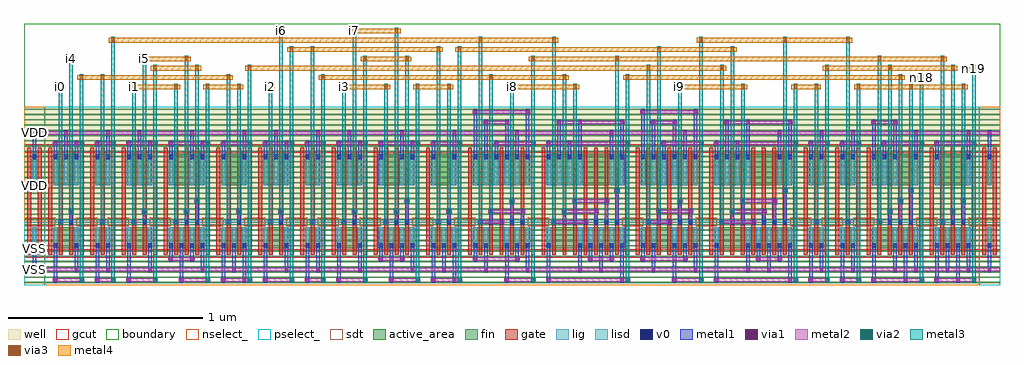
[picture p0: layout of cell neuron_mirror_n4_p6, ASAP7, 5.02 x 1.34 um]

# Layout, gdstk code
import gdstk
lib = gdstk.Library(unit=1e-6, precision=2.5e-10)
def R(c, l, rs):  # rectangles x0, y0, x1, y1
    for r in rs: c.add(gdstk.rectangle(r[:2], r[2:], *l))
def A(c, l, x, y, w, h, nx, ny, dx, dy):  # array of equal rectangles
    R(c, l, [(x+i*dx, y+j*dy, x+i*dx+w, y+j*dy+h) for i in range(nx) for j in range(ny)])
well = (1, 0)
fin = (2, 0)
gate = (7, 0)
gcut = (10, 0)
active_area = (11, 0)
nselect_ = (12, 0)
pselect_ = (13, 0)
lig = (16, 0)
lisd = (17, 0)
v0 = (18, 0)
metal1 = (19, 0)
metal2 = (20, 0)
via1 = (21, 0)
via2 = (25, 0)
metal3 = (30, 0)
via3 = (35, 0)
metal4 = (40, 0)
sdt = (88, 0)
boundary = (100, 0)

neuron_mirror_n4_p6 = lib.new_cell('neuron_mirror_n4_p6')
R(neuron_mirror_n4_p6, well, [(0,0.324,0.108,0.918), (0.108,0.324,0.324,0.918), (0.324,0.324,0.486,0.918), (0.486,0.324,0.702,0.918), (0.702,0.324,0.972,0.918), (0.972,0.324,1.188,0.918), (1.188,0.324,1.404,0.918), (1.404,0.324,1.566,0.918), (1.566,0.324,1.782,0.918), (1.782,0.324,2.052,0.918), (2.052,0.324,2.268,0.918), (2.268,0.324,2.646,0.918), (2.646,0.324,3.132,0.918), (3.132,0.324,3.51,0.918), (3.51,0.324,3.996,0.918), (3.996,0.324,4.158,0.918), (4.158,0.324,4.32,0.918), (4.32,0.324,4.644,0.918), (4.644,0.324,4.914,0.918), (4.914,0.324,5.022,0.918)])
A(neuron_mirror_n4_p6, fin, 0, 0.01, 0.108, 0.007, 1, 34, 0, 0.027)
A(neuron_mirror_n4_p6, fin, 0.108, 0.01, 0.216, 0.007, 1, 34, 0, 0.027)
A(neuron_mirror_n4_p6, fin, 0.324, 0.01, 0.162, 0.007, 1, 34, 0, 0.027)
A(neuron_mirror_n4_p6, fin, 0.486, 0.01, 0.216, 0.007, 1, 34, 0, 0.027)
A(neuron_mirror_n4_p6, fin, 0.702, 0.01, 0.27, 0.007, 1, 34, 0, 0.027)
A(neuron_mirror_n4_p6, fin, 0.972, 0.01, 0.216, 0.007, 1, 34, 0, 0.027)
A(neuron_mirror_n4_p6, fin, 1.188, 0.01, 0.216, 0.007, 1, 34, 0, 0.027)
A(neuron_mirror_n4_p6, fin, 1.404, 0.01, 0.162, 0.007, 1, 34, 0, 0.027)
A(neuron_mirror_n4_p6, fin, 1.566, 0.01, 0.216, 0.007, 1, 34, 0, 0.027)
A(neuron_mirror_n4_p6, fin, 1.782, 0.01, 0.27, 0.007, 1, 34, 0, 0.027)
A(neuron_mirror_n4_p6, fin, 2.052, 0.01, 0.216, 0.007, 1, 34, 0, 0.027)
A(neuron_mirror_n4_p6, fin, 2.268, 0.01, 0.378, 0.007, 1, 34, 0, 0.027)
A(neuron_mirror_n4_p6, fin, 2.646, 0.01, 0.486, 0.007, 1, 34, 0, 0.027)
A(neuron_mirror_n4_p6, fin, 3.132, 0.01, 0.378, 0.007, 1, 34, 0, 0.027)
A(neuron_mirror_n4_p6, fin, 3.51, 0.01, 0.486, 0.007, 1, 34, 0, 0.027)
A(neuron_mirror_n4_p6, fin, 3.996, 0.01, 0.162, 0.007, 1, 34, 0, 0.027)
A(neuron_mirror_n4_p6, fin, 4.158, 0.01, 0.162, 0.007, 1, 34, 0, 0.027)
A(neuron_mirror_n4_p6, fin, 4.32, 0.01, 0.324, 0.007, 1, 34, 0, 0.027)
A(neuron_mirror_n4_p6, fin, 4.644, 0.01, 0.27, 0.007, 1, 34, 0, 0.027)
A(neuron_mirror_n4_p6, fin, 4.914, 0.01, 0.108, 0.007, 1, 34, 0, 0.027)
A(neuron_mirror_n4_p6, gate, 0.017, 0.157, 0.02, 0.55, 93, 1, 0.054, 0)
R(neuron_mirror_n4_p6, gcut, [(0,0.14,0.108,0.184), (0.108,0.14,0.324,0.184), (0.324,0.14,0.486,0.184), (0.486,0.14,0.702,0.184), (0.702,0.14,0.972,0.184), (0.972,0.14,1.188,0.184), (1.188,0.14,1.404,0.184), (1.404,0.14,1.566,0.184), (1.566,0.14,1.782,0.184), (1.782,0.14,2.052,0.184), (2.052,0.14,2.268,0.184), (2.268,0.14,2.646,0.184), (2.646,0.14,3.132,0.184), (3.132,0.14,3.51,0.184), (3.51,0.14,3.996,0.184), (3.996,0.14,4.158,0.184), (4.158,0.14,4.32,0.184), (4.32,0.14,4.644,0.184), (4.644,0.14,4.914,0.184), (4.914,0.14,5.022,0.184), (0,0.302,0.108,0.346), (0.108,0.302,0.162,0.346), (0.27,0.302,0.324,0.346), (0.324,0.302,0.378,0.346), (0.432,0.302,0.486,0.346), (0.486,0.302,0.54,0.346), (0.648,0.302,0.702,0.346), (0.702,0.302,0.756,0.346), (0.918,0.302,0.972,0.346), (0.972,0.302,1.026,0.346), (1.134,0.302,1.188,0.346), (1.188,0.302,1.242,0.346), (1.35,0.302,1.404,0.346), (1.404,0.302,1.458,0.346), (1.512,0.302,1.566,0.346), (1.566,0.302,1.62,0.346), (1.728,0.302,1.782,0.346), (1.782,0.302,1.836,0.346), (1.998,0.302,2.052,0.346), (2.052,0.302,2.106,0.346), (2.214,0.302,2.268,0.346), (2.268,0.302,2.322,0.346), (2.592,0.302,2.646,0.346), (2.646,0.302,2.7,0.346), (3.078,0.302,3.132,0.346), (3.132,0.302,3.186,0.346), (3.456,0.302,3.51,0.346), (3.51,0.302,3.564,0.346), (3.942,0.302,3.996,0.346), (3.996,0.302,4.05,0.346), (4.104,0.302,4.158,0.346), (4.158,0.302,4.212,0.346), (4.266,0.302,4.32,0.346), (4.32,0.302,4.374,0.346), (4.59,0.302,4.644,0.346), (4.644,0.302,4.698,0.346), (4.86,0.302,4.914,0.346), (4.914,0.302,5.022,0.346), (0,0.68,0.108,0.724), (0.108,0.68,0.324,0.724), (0.324,0.68,0.486,0.724), (0.486,0.68,0.702,0.724), (0.702,0.68,0.972,0.724), (0.972,0.68,1.188,0.724), (1.188,0.68,1.404,0.724), (1.404,0.68,1.566,0.724), (1.566,0.68,1.782,0.724), (1.782,0.68,2.052,0.724), (2.052,0.68,2.268,0.724), (2.268,0.68,2.646,0.724), (2.646,0.68,3.132,0.724), (3.132,0.68,3.51,0.724), (3.51,0.68,3.996,0.724), (3.996,0.68,4.158,0.724), (4.158,0.68,4.32,0.724), (4.32,0.68,4.644,0.724), (4.644,0.68,4.914,0.724), (4.914,0.68,5.022,0.724)])
R(neuron_mirror_n4_p6, active_area, [(0.046,0.189,0.062,0.297), (0.154,0.189,0.278,0.297), (0.37,0.189,0.44,0.297), (0.532,0.189,0.656,0.297), (0.748,0.189,0.926,0.297), (1.018,0.189,1.142,0.297), (1.234,0.189,1.358,0.297), (1.45,0.189,1.52,0.297), (1.612,0.189,1.736,0.297), (1.828,0.189,2.006,0.297), (2.098,0.189,2.222,0.297), (2.314,0.189,2.6,0.297), (2.692,0.189,3.086,0.297), (3.178,0.189,3.464,0.297), (3.556,0.189,3.95,0.297), (4.042,0.189,4.112,0.297), (4.204,0.189,4.274,0.297), (4.366,0.189,4.598,0.297), (4.69,0.189,4.868,0.297), (4.96,0.189,4.976,0.297), (0.046,0.513,0.062,0.675), (0.154,0.513,0.278,0.675), (0.37,0.513,0.44,0.675), (0.532,0.513,0.656,0.675), (0.748,0.513,0.926,0.675), (1.018,0.513,1.142,0.675), (1.234,0.513,1.358,0.675), (1.45,0.513,1.52,0.675), (1.612,0.513,1.736,0.675), (1.828,0.513,2.006,0.675), (2.098,0.513,2.222,0.675), (2.314,0.513,2.6,0.675), (2.692,0.513,3.086,0.675), (3.178,0.513,3.464,0.675), (3.556,0.513,3.95,0.675), (4.042,0.513,4.112,0.675), (4.204,0.513,4.274,0.675), (4.366,0.513,4.598,0.675), (4.69,0.513,4.868,0.675), (4.96,0.513,4.976,0.675)])
R(neuron_mirror_n4_p6, nselect_, [(0.108,0,0.324,0.324), (0.324,0,0.486,0.324), (0.486,0,0.702,0.324), (0.702,0,0.972,0.324), (0.972,0,1.188,0.324), (1.188,0,1.404,0.324), (1.404,0,1.566,0.324), (1.566,0,1.782,0.324), (1.782,0,2.052,0.324), (2.052,0,2.268,0.324), (2.268,0,2.646,0.324), (2.646,0,3.132,0.324), (3.132,0,3.51,0.324), (3.51,0,3.996,0.324), (3.996,0,4.158,0.324), (4.158,0,4.32,0.324), (4.32,0,4.644,0.324), (4.644,0,4.914,0.324), (0,0.324,0.108,0.918), (4.914,0.324,5.022,0.918)])
R(neuron_mirror_n4_p6, pselect_, [(0,0,0.108,0.324), (4.914,0,5.022,0.324), (0.108,0.324,0.324,0.918), (0.324,0.324,0.486,0.918), (0.486,0.324,0.702,0.918), (0.702,0.324,0.972,0.918), (0.972,0.324,1.188,0.918), (1.188,0.324,1.404,0.918), (1.404,0.324,1.566,0.918), (1.566,0.324,1.782,0.918), (1.782,0.324,2.052,0.918), (2.052,0.324,2.268,0.918), (2.268,0.324,2.646,0.918), (2.646,0.324,3.132,0.918), (3.132,0.324,3.51,0.918), (3.51,0.324,3.996,0.918), (3.996,0.324,4.158,0.918), (4.158,0.324,4.32,0.918), (4.32,0.324,4.644,0.918), (4.644,0.324,4.914,0.918)])
A(neuron_mirror_n4_p6, lig, 0.232, 0.313, 0.022, 0.022, 3, 1, 0.162, 0)
A(neuron_mirror_n4_p6, lig, 0.772, 0.313, 0.022, 0.022, 3, 1, 0.054, 0)
A(neuron_mirror_n4_p6, lig, 1.312, 0.313, 0.022, 0.022, 3, 1, 0.162, 0)
A(neuron_mirror_n4_p6, lig, 1.852, 0.313, 0.022, 0.022, 3, 1, 0.054, 0)
A(neuron_mirror_n4_p6, lig, 2.338, 0.313, 0.022, 0.022, 5, 1, 0.054, 0)
A(neuron_mirror_n4_p6, lig, 2.716, 0.313, 0.022, 0.022, 7, 1, 0.054, 0)
A(neuron_mirror_n4_p6, lig, 3.202, 0.313, 0.022, 0.022, 5, 1, 0.054, 0)
A(neuron_mirror_n4_p6, lig, 3.58, 0.313, 0.022, 0.022, 7, 1, 0.054, 0)
A(neuron_mirror_n4_p6, lig, 4.066, 0.313, 0.022, 0.022, 3, 1, 0.162, 0)
A(neuron_mirror_n4_p6, lig, 4.444, 0.313, 0.022, 0.022, 3, 1, 0.054, 0)
A(neuron_mirror_n4_p6, lig, 4.714, 0.313, 0.022, 0.022, 3, 1, 0.054, 0)
R(neuron_mirror_n4_p6, lig, [(0.178,0.313,0.2,0.335), (0.61,0.313,0.632,0.335), (1.042,0.313,1.064,0.335), (1.096,0.313,1.118,0.335), (1.258,0.313,1.28,0.335), (1.69,0.313,1.712,0.335), (2.122,0.313,2.144,0.335), (2.176,0.313,2.198,0.335)])
A(neuron_mirror_n4_p6, lisd, 0.042, 0.189, 0.024, 0.108, 4, 1, 0.108, 0)
A(neuron_mirror_n4_p6, lisd, 0.42, 0.189, 0.024, 0.108, 4, 1, 0.108, 0)
A(neuron_mirror_n4_p6, lisd, 0.798, 0.189, 0.024, 0.108, 3, 1, 0.054, 0)
A(neuron_mirror_n4_p6, lisd, 1.014, 0.189, 0.024, 0.108, 3, 1, 0.054, 0)
A(neuron_mirror_n4_p6, lisd, 1.23, 0.189, 0.024, 0.108, 3, 1, 0.108, 0)
A(neuron_mirror_n4_p6, lisd, 1.5, 0.189, 0.024, 0.108, 4, 1, 0.108, 0)
A(neuron_mirror_n4_p6, lisd, 1.878, 0.189, 0.024, 0.108, 3, 1, 0.054, 0)
A(neuron_mirror_n4_p6, lisd, 2.094, 0.189, 0.024, 0.108, 3, 1, 0.054, 0)
A(neuron_mirror_n4_p6, lisd, 2.472, 0.189, 0.024, 0.108, 3, 1, 0.054, 0)
A(neuron_mirror_n4_p6, lisd, 2.85, 0.189, 0.024, 0.108, 5, 1, 0.054, 0)
A(neuron_mirror_n4_p6, lisd, 3.336, 0.189, 0.024, 0.108, 3, 1, 0.054, 0)
A(neuron_mirror_n4_p6, lisd, 3.714, 0.189, 0.024, 0.108, 5, 1, 0.054, 0)
A(neuron_mirror_n4_p6, lisd, 4.254, 0.189, 0.024, 0.108, 3, 1, 0.108, 0)
A(neuron_mirror_n4_p6, lisd, 4.686, 0.189, 0.024, 0.108, 4, 1, 0.054, 0)
A(neuron_mirror_n4_p6, lisd, 0.15, 0.513, 0.024, 0.162, 3, 1, 0.054, 0)
A(neuron_mirror_n4_p6, lisd, 0.528, 0.513, 0.024, 0.162, 3, 1, 0.054, 0)
A(neuron_mirror_n4_p6, lisd, 0.906, 0.513, 0.024, 0.162, 4, 1, 0.108, 0)
A(neuron_mirror_n4_p6, lisd, 1.608, 0.513, 0.024, 0.162, 3, 1, 0.054, 0)
A(neuron_mirror_n4_p6, lisd, 1.986, 0.513, 0.024, 0.162, 4, 1, 0.108, 0)
A(neuron_mirror_n4_p6, lisd, 2.364, 0.513, 0.024, 0.162, 5, 1, 0.054, 0)
A(neuron_mirror_n4_p6, lisd, 2.688, 0.513, 0.024, 0.162, 4, 1, 0.054, 0)
A(neuron_mirror_n4_p6, lisd, 3.174, 0.513, 0.024, 0.162, 6, 1, 0.054, 0)
A(neuron_mirror_n4_p6, lisd, 3.552, 0.513, 0.024, 0.162, 4, 1, 0.054, 0)
A(neuron_mirror_n4_p6, lisd, 4.362, 0.513, 0.024, 0.162, 3, 1, 0.054, 0)
R(neuron_mirror_n4_p6, lisd, [(2.31,0.189,2.334,0.297), (2.364,0.189,2.388,0.297), (2.688,0.189,2.712,0.297), (3.174,0.189,3.198,0.297), (3.228,0.189,3.252,0.297), (3.552,0.189,3.576,0.297), (4.038,0.189,4.062,0.297), (4.092,0.189,4.116,0.297), (4.2,0.189,4.224,0.297), (4.524,0.189,4.548,0.297), (4.578,0.189,4.602,0.297), (4.956,0.189,4.98,0.297), (0.042,0.513,0.066,0.675), (0.366,0.513,0.39,0.675), (0.42,0.513,0.444,0.675), (0.744,0.513,0.768,0.675), (0.852,0.513,0.876,0.675), (1.284,0.513,1.308,0.675), (1.338,0.513,1.362,0.675), (1.446,0.513,1.47,0.675), (1.5,0.513,1.524,0.675), (1.824,0.513,1.848,0.675), (1.932,0.513,1.956,0.675), (3.012,0.513,3.036,0.675), (3.066,0.513,3.09,0.675), (3.876,0.513,3.9,0.675), (3.93,0.513,3.954,0.675), (4.038,0.513,4.062,0.675), (4.092,0.513,4.116,0.675), (4.2,0.513,4.224,0.675), (4.254,0.513,4.278,0.675), (4.578,0.513,4.602,0.675), (4.686,0.513,4.71,0.675), (4.848,0.513,4.872,0.675), (4.956,0.513,4.98,0.675)])
A(neuron_mirror_n4_p6, v0, 0.045, 0.1935, 0.018, 0.018, 4, 1, 0.108, 0)
A(neuron_mirror_n4_p6, v0, 0.423, 0.1935, 0.018, 0.018, 4, 1, 0.108, 0)
A(neuron_mirror_n4_p6, v0, 0.801, 0.1935, 0.018, 0.018, 3, 1, 0.054, 0)
A(neuron_mirror_n4_p6, v0, 1.017, 0.1935, 0.018, 0.018, 3, 1, 0.054, 0)
A(neuron_mirror_n4_p6, v0, 1.233, 0.1935, 0.018, 0.018, 3, 1, 0.108, 0)
A(neuron_mirror_n4_p6, v0, 1.503, 0.1935, 0.018, 0.018, 4, 1, 0.108, 0)
A(neuron_mirror_n4_p6, v0, 1.881, 0.1935, 0.018, 0.018, 3, 1, 0.054, 0)
A(neuron_mirror_n4_p6, v0, 2.097, 0.1935, 0.018, 0.018, 3, 1, 0.054, 0)
A(neuron_mirror_n4_p6, v0, 2.475, 0.1935, 0.018, 0.018, 3, 1, 0.054, 0)
A(neuron_mirror_n4_p6, v0, 2.853, 0.1935, 0.018, 0.018, 5, 1, 0.054, 0)
A(neuron_mirror_n4_p6, v0, 3.339, 0.1935, 0.018, 0.018, 3, 1, 0.054, 0)
A(neuron_mirror_n4_p6, v0, 3.717, 0.1935, 0.018, 0.018, 5, 1, 0.054, 0)
A(neuron_mirror_n4_p6, v0, 4.257, 0.1935, 0.018, 0.018, 3, 1, 0.108, 0)
A(neuron_mirror_n4_p6, v0, 4.689, 0.1935, 0.018, 0.018, 4, 1, 0.054, 0)
A(neuron_mirror_n4_p6, v0, 0.234, 0.315, 0.018, 0.018, 3, 1, 0.162, 0)
A(neuron_mirror_n4_p6, v0, 0.774, 0.315, 0.018, 0.018, 3, 1, 0.054, 0)
A(neuron_mirror_n4_p6, v0, 1.314, 0.315, 0.018, 0.018, 3, 1, 0.162, 0)
A(neuron_mirror_n4_p6, v0, 1.854, 0.315, 0.018, 0.018, 3, 1, 0.054, 0)
A(neuron_mirror_n4_p6, v0, 2.34, 0.315, 0.018, 0.018, 5, 1, 0.054, 0)
A(neuron_mirror_n4_p6, v0, 2.718, 0.315, 0.018, 0.018, 7, 1, 0.054, 0)
A(neuron_mirror_n4_p6, v0, 3.204, 0.315, 0.018, 0.018, 5, 1, 0.054, 0)
A(neuron_mirror_n4_p6, v0, 3.582, 0.315, 0.018, 0.018, 7, 1, 0.054, 0)
A(neuron_mirror_n4_p6, v0, 4.068, 0.315, 0.018, 0.018, 3, 1, 0.162, 0)
A(neuron_mirror_n4_p6, v0, 4.446, 0.315, 0.018, 0.018, 3, 1, 0.054, 0)
A(neuron_mirror_n4_p6, v0, 4.716, 0.315, 0.018, 0.018, 3, 1, 0.054, 0)
A(neuron_mirror_n4_p6, v0, 0.153, 0.6525, 0.018, 0.018, 3, 1, 0.054, 0)
A(neuron_mirror_n4_p6, v0, 0.531, 0.6525, 0.018, 0.018, 3, 1, 0.054, 0)
A(neuron_mirror_n4_p6, v0, 0.909, 0.6525, 0.018, 0.018, 4, 1, 0.108, 0)
A(neuron_mirror_n4_p6, v0, 1.611, 0.6525, 0.018, 0.018, 3, 1, 0.054, 0)
A(neuron_mirror_n4_p6, v0, 1.989, 0.6525, 0.018, 0.018, 4, 1, 0.108, 0)
A(neuron_mirror_n4_p6, v0, 2.367, 0.6525, 0.018, 0.018, 5, 1, 0.054, 0)
A(neuron_mirror_n4_p6, v0, 2.691, 0.6525, 0.018, 0.018, 4, 1, 0.054, 0)
A(neuron_mirror_n4_p6, v0, 3.177, 0.6525, 0.018, 0.018, 6, 1, 0.054, 0)
A(neuron_mirror_n4_p6, v0, 3.555, 0.6525, 0.018, 0.018, 4, 1, 0.054, 0)
A(neuron_mirror_n4_p6, v0, 4.365, 0.6525, 0.018, 0.018, 3, 1, 0.054, 0)
R(neuron_mirror_n4_p6, v0, [(2.313,0.1935,2.331,0.2115), (2.367,0.1935,2.385,0.2115), (2.691,0.1935,2.709,0.2115), (3.177,0.1935,3.195,0.2115), (3.231,0.1935,3.249,0.2115), (3.555,0.1935,3.573,0.2115), (4.041,0.1935,4.059,0.2115), (4.095,0.1935,4.113,0.2115), (4.203,0.1935,4.221,0.2115), (4.527,0.1935,4.545,0.2115), (4.581,0.1935,4.599,0.2115), (4.959,0.1935,4.977,0.2115), (0.18,0.315,0.198,0.333), (0.612,0.315,0.63,0.333), (1.044,0.315,1.062,0.333), (1.098,0.315,1.116,0.333), (1.26,0.315,1.278,0.333), (1.692,0.315,1.71,0.333), (2.124,0.315,2.142,0.333), (2.178,0.315,2.196,0.333), (0.045,0.6525,0.063,0.6705), (0.369,0.6525,0.387,0.6705), (0.423,0.6525,0.441,0.6705), (0.747,0.6525,0.765,0.6705), (0.855,0.6525,0.873,0.6705), (1.287,0.6525,1.305,0.6705), (1.341,0.6525,1.359,0.6705), (1.449,0.6525,1.467,0.6705), (1.503,0.6525,1.521,0.6705), (1.827,0.6525,1.845,0.6705), (1.935,0.6525,1.953,0.6705), (3.015,0.6525,3.033,0.6705), (3.069,0.6525,3.087,0.6705), (3.879,0.6525,3.897,0.6705), (3.933,0.6525,3.951,0.6705), (4.041,0.6525,4.059,0.6705), (4.095,0.6525,4.113,0.6705), (4.203,0.6525,4.221,0.6705), (4.257,0.6525,4.275,0.6705), (4.581,0.6525,4.599,0.6705), (4.689,0.6525,4.707,0.6705), (4.851,0.6525,4.869,0.6705), (4.959,0.6525,4.977,0.6705)])
A(neuron_mirror_n4_p6, metal1, 1.017, 0.013, 0.018, 0.2035, 3, 1, 0.108, 0)
A(neuron_mirror_n4_p6, metal1, 4.041, 0.013, 0.018, 0.2035, 5, 1, 0.162, 0)
A(neuron_mirror_n4_p6, metal1, 2.151, 0.067, 0.018, 0.1495, 3, 1, 0.216, 0)
A(neuron_mirror_n4_p6, metal1, 4.743, 0.067, 0.018, 0.1495, 3, 1, 0.108, 0)
A(neuron_mirror_n4_p6, metal1, 1.044, 0.31, 0.018, 0.028, 3, 1, 0.216, 0)
A(neuron_mirror_n4_p6, metal1, 4.068, 0.31, 0.018, 0.028, 3, 1, 0.162, 0)
A(neuron_mirror_n4_p6, metal1, 0.153, 0.6475, 0.018, 0.0955, 3, 1, 0.108, 0)
A(neuron_mirror_n4_p6, metal1, 0.531, 0.6475, 0.018, 0.0955, 3, 1, 0.108, 0)
A(neuron_mirror_n4_p6, metal1, 0.585, 0.6475, 0.018, 0.1495, 3, 1, 0.27, 0)
A(neuron_mirror_n4_p6, metal1, 1.233, 0.6475, 0.018, 0.0955, 3, 1, 0.108, 0)
A(neuron_mirror_n4_p6, metal1, 1.611, 0.6475, 0.018, 0.0955, 3, 1, 0.108, 0)
A(neuron_mirror_n4_p6, metal1, 1.665, 0.6475, 0.018, 0.1495, 3, 1, 0.27, 0)
R(neuron_mirror_n4_p6, metal1, [(0.153,0.013,0.171,0.2165), (0.369,0.013,0.387,0.2165), (0.531,0.013,0.549,0.2165), (0.801,0.013,0.819,0.2165), (1.449,0.013,1.467,0.2165), (1.611,0.013,1.629,0.2165), (1.881,0.013,1.899,0.2165), (2.097,0.013,2.115,0.2165), (2.205,0.013,2.223,0.2165), (2.475,0.013,2.493,0.2165), (2.691,0.013,2.709,0.2165), (3.069,0.013,3.087,0.2165), (3.339,0.013,3.357,0.2165), (3.555,0.013,3.573,0.2165), (3.933,0.013,3.951,0.2165), (4.797,0.013,4.815,0.2165), (0.045,0.067,0.063,0.2165), (0.261,0.067,0.279,0.2165), (0.423,0.067,0.441,0.2165), (0.639,0.067,0.657,0.2165), (0.909,0.067,0.927,0.2165), (1.071,0.067,1.089,0.2165), (1.341,0.067,1.359,0.2165), (1.503,0.067,1.521,0.2165), (1.719,0.067,1.737,0.2165), (1.989,0.067,2.007,0.2165), (2.853,0.067,2.871,0.2165), (2.961,0.067,2.979,0.2165), (3.231,0.067,3.249,0.2165), (3.447,0.067,3.465,0.2165), (3.717,0.067,3.735,0.2165), (3.825,0.067,3.843,0.2165), (4.095,0.067,4.113,0.2165), (4.257,0.067,4.275,0.2165), (4.473,0.067,4.491,0.2165), (4.581,0.067,4.599,0.2165), (0.747,0.121,0.765,0.2165), (0.855,0.121,0.873,0.2165), (1.827,0.121,1.845,0.2165), (1.935,0.121,1.953,0.2165), (2.313,0.121,2.331,0.2165), (2.529,0.121,2.547,0.2165), (2.907,0.121,2.925,0.2165), (3.015,0.121,3.033,0.2165), (3.177,0.121,3.195,0.2165), (3.393,0.121,3.411,0.2165), (3.771,0.121,3.789,0.2165), (3.879,0.121,3.897,0.2165), (0.18,0.31,0.198,0.338), (0.234,0.31,0.252,0.392), (0.396,0.31,0.414,0.338), (0.558,0.31,0.576,0.338), (0.612,0.31,0.63,0.392), (0.774,0.31,0.792,0.338), (0.828,0.31,0.846,0.392), (0.882,0.31,0.9,0.446), (1.098,0.31,1.116,0.392), (1.314,0.31,1.332,0.392), (1.638,0.31,1.656,0.338), (1.692,0.31,1.71,0.392), (1.854,0.31,1.872,0.338), (1.908,0.31,1.926,0.392), (1.962,0.31,1.98,0.446), (2.124,0.31,2.142,0.338), (2.178,0.31,2.196,0.392), (2.34,0.31,2.358,0.338), (2.394,0.31,2.412,0.392), (2.448,0.31,2.466,0.338), (2.502,0.31,2.52,0.446), (2.556,0.31,2.574,0.392), (2.718,0.31,2.736,0.338), (2.772,0.31,2.79,0.392), (2.826,0.31,2.844,0.446), (2.88,0.31,2.898,0.338), (2.934,0.31,2.952,0.392), (2.988,0.31,3.006,0.446), (3.042,0.31,3.06,0.5), (3.204,0.31,3.222,0.338), (3.258,0.31,3.276,0.392), (3.312,0.31,3.33,0.338), (3.366,0.31,3.384,0.446), (3.42,0.31,3.438,0.392), (3.582,0.31,3.6,0.338), (3.636,0.31,3.654,0.392), (3.69,0.31,3.708,0.446), (3.744,0.31,3.762,0.338), (3.798,0.31,3.816,0.392), (3.852,0.31,3.87,0.446), (3.906,0.31,3.924,0.5), (4.446,0.31,4.464,0.392), (4.5,0.31,4.518,0.446), (4.554,0.31,4.572,0.5), (4.716,0.31,4.734,0.338), (4.77,0.31,4.788,0.392), (4.824,0.31,4.842,0.446), (0.045,0.6475,0.063,0.797), (0.207,0.6475,0.225,0.797), (0.423,0.6475,0.441,0.797), (0.909,0.6475,0.927,0.743), (1.017,0.6475,1.035,0.743), (1.287,0.6475,1.305,0.797), (1.503,0.6475,1.521,0.797), (1.989,0.6475,2.007,0.743), (2.097,0.6475,2.115,0.743), (2.313,0.6475,2.331,0.905), (2.367,0.6475,2.385,0.851), (2.421,0.6475,2.439,0.743), (2.475,0.6475,2.493,0.851), (2.529,0.6475,2.547,0.797), (2.583,0.6475,2.601,0.905), (2.691,0.6475,2.709,0.743), (2.745,0.6475,2.763,0.851), (2.799,0.6475,2.817,0.743), (2.853,0.6475,2.871,0.851), (3.015,0.6475,3.033,0.797), (3.069,0.6475,3.087,0.851), (3.177,0.6475,3.195,0.905), (3.231,0.6475,3.249,0.851), (3.285,0.6475,3.303,0.743), (3.339,0.6475,3.357,0.851), (3.393,0.6475,3.411,0.797), (3.447,0.6475,3.465,0.905), (3.555,0.6475,3.573,0.743), (3.609,0.6475,3.627,0.851), (3.663,0.6475,3.681,0.743), (3.717,0.6475,3.735,0.851), (3.879,0.6475,3.897,0.797), (3.933,0.6475,3.951,0.851), (4.041,0.6475,4.059,0.743), (4.095,0.6475,4.113,0.797), (4.203,0.6475,4.221,0.743), (4.257,0.6475,4.275,0.797), (4.365,0.6475,4.383,0.851), (4.419,0.6475,4.437,0.743), (4.473,0.6475,4.491,0.851), (4.581,0.6475,4.599,0.797), (4.689,0.6475,4.707,0.743), (4.851,0.6475,4.869,0.797), (4.959,0.6475,4.977,0.797)])
A(neuron_mirror_n4_p6, metal2, 0.796, 0.018, 0.163, 0.018, 3, 1, 0.216, 0)
A(neuron_mirror_n4_p6, metal2, 0.742, 0.126, 0.136, 0.018, 3, 1, 1.08, 0)
A(neuron_mirror_n4_p6, metal2, 1.039, 0.315, 0.028, 0.018, 3, 1, 0.216, 0)
A(neuron_mirror_n4_p6, metal2, 4.063, 0.315, 0.028, 0.018, 3, 1, 0.162, 0)
A(neuron_mirror_n4_p6, metal2, 0.58, 0.774, 0.028, 0.018, 3, 1, 0.27, 0)
A(neuron_mirror_n4_p6, metal2, 1.66, 0.774, 0.028, 0.018, 3, 1, 0.27, 0)
R(neuron_mirror_n4_p6, metal2, [(0.148,0.018,0.311,0.036), (0.364,0.018,0.473,0.036), (0.526,0.018,0.689,0.036), (1.444,0.018,1.553,0.036), (1.606,0.018,1.769,0.036), (1.876,0.018,2.039,0.036), (2.092,0.018,2.255,0.036), (2.47,0.018,2.633,0.036), (2.686,0.018,3.119,0.036), (3.334,0.018,3.497,0.036), (3.55,0.018,3.983,0.036), (4.036,0.018,4.145,0.036), (4.198,0.018,4.307,0.036), (4.36,0.018,4.631,0.036), (4.684,0.018,4.901,0.036), (0,0.072,5.022,0.09), (0.04,0.072,0.068,0.09), (0.256,0.072,0.284,0.09), (0.418,0.072,0.446,0.09), (0.634,0.072,0.662,0.09), (0.904,0.072,0.932,0.09), (1.066,0.072,1.094,0.09), (1.336,0.072,1.364,0.09), (1.498,0.072,1.526,0.09), (1.714,0.072,1.742,0.09), (1.984,0.072,2.012,0.09), (2.146,0.072,2.174,0.09), (2.362,0.072,2.606,0.09), (2.848,0.072,2.984,0.09), (3.226,0.072,3.47,0.09), (3.712,0.072,3.848,0.09), (4.09,0.072,4.118,0.09), (4.252,0.072,4.28,0.09), (4.468,0.072,4.604,0.09), (4.738,0.072,4.874,0.09), (4.954,0.072,4.982,0.09), (2.308,0.126,2.552,0.144), (3.172,0.126,3.416,0.144), (3.766,0.126,3.902,0.144), (0.175,0.315,0.203,0.333), (0.391,0.315,0.419,0.333), (0.553,0.315,0.581,0.333), (0.769,0.315,0.797,0.333), (1.633,0.315,1.661,0.333), (1.849,0.315,1.877,0.333), (2.119,0.315,2.147,0.333), (2.335,0.315,2.471,0.333), (2.713,0.315,2.903,0.333), (3.199,0.315,3.335,0.333), (3.577,0.315,3.767,0.333), (4.711,0.315,4.739,0.333), (0.229,0.369,0.257,0.387), (0.607,0.369,0.635,0.387), (0.823,0.369,0.851,0.387), (1.093,0.369,1.121,0.387), (1.309,0.369,1.337,0.387), (1.687,0.369,1.715,0.387), (1.903,0.369,1.931,0.387), (2.173,0.369,2.201,0.387), (2.389,0.369,2.579,0.387), (2.767,0.369,2.957,0.387), (3.253,0.369,3.443,0.387), (3.631,0.369,3.821,0.387), (4.441,0.369,4.469,0.387), (4.765,0.369,4.793,0.387), (0.877,0.423,0.905,0.441), (1.957,0.423,1.985,0.441), (2.497,0.423,2.525,0.441), (2.821,0.423,3.011,0.441), (3.361,0.423,3.389,0.441), (3.685,0.423,3.875,0.441), (4.495,0.423,4.523,0.441), (4.819,0.423,4.847,0.441), (3.037,0.477,3.065,0.495), (3.901,0.477,3.929,0.495), (4.549,0.477,4.577,0.495), (0.148,0.72,0.311,0.738), (0.364,0.72,0.473,0.738), (0.526,0.72,0.689,0.738), (0.742,0.72,0.959,0.738), (1.012,0.72,1.175,0.738), (1.228,0.72,1.391,0.738), (1.444,0.72,1.553,0.738), (1.606,0.72,1.769,0.738), (1.822,0.72,2.039,0.738), (2.092,0.72,2.255,0.738), (2.416,0.72,2.633,0.738), (2.686,0.72,3.119,0.738), (3.28,0.72,3.497,0.738), (3.55,0.72,3.983,0.738), (4.036,0.72,4.145,0.738), (4.198,0.72,4.307,0.738), (4.414,0.72,4.631,0.738), (4.684,0.72,4.901,0.738), (0,0.774,5.022,0.792), (0.04,0.774,0.068,0.792), (0.202,0.774,0.23,0.792), (0.418,0.774,0.446,0.792), (1.282,0.774,1.31,0.792), (1.498,0.774,1.526,0.792), (2.524,0.774,2.552,0.792), (3.01,0.774,3.038,0.792), (3.388,0.774,3.416,0.792), (3.874,0.774,3.902,0.792), (4.09,0.774,4.118,0.792), (4.252,0.774,4.28,0.792), (4.576,0.774,4.604,0.792), (4.846,0.774,4.874,0.792), (4.954,0.774,4.982,0.792), (2.362,0.828,2.498,0.846), (2.74,0.828,3.092,0.846), (3.226,0.828,3.362,0.846), (3.604,0.828,3.956,0.846), (4.36,0.828,4.496,0.846), (2.308,0.882,2.606,0.9), (3.172,0.882,3.47,0.9)])
A(neuron_mirror_n4_p6, via1, 1.017, 0.018, 0.018, 0.018, 3, 1, 0.108, 0)
A(neuron_mirror_n4_p6, via1, 4.041, 0.018, 0.018, 0.018, 5, 1, 0.162, 0)
A(neuron_mirror_n4_p6, via1, 2.151, 0.072, 0.018, 0.018, 3, 1, 0.216, 0)
A(neuron_mirror_n4_p6, via1, 4.743, 0.072, 0.018, 0.018, 3, 1, 0.108, 0)
A(neuron_mirror_n4_p6, via1, 1.044, 0.315, 0.018, 0.018, 3, 1, 0.216, 0)
A(neuron_mirror_n4_p6, via1, 4.068, 0.315, 0.018, 0.018, 3, 1, 0.162, 0)
A(neuron_mirror_n4_p6, via1, 0.153, 0.72, 0.018, 0.018, 3, 1, 0.108, 0)
A(neuron_mirror_n4_p6, via1, 0.531, 0.72, 0.018, 0.018, 3, 1, 0.108, 0)
A(neuron_mirror_n4_p6, via1, 1.233, 0.72, 0.018, 0.018, 3, 1, 0.108, 0)
A(neuron_mirror_n4_p6, via1, 1.611, 0.72, 0.018, 0.018, 3, 1, 0.108, 0)
A(neuron_mirror_n4_p6, via1, 0.585, 0.774, 0.018, 0.018, 3, 1, 0.27, 0)
A(neuron_mirror_n4_p6, via1, 1.665, 0.774, 0.018, 0.018, 3, 1, 0.27, 0)
R(neuron_mirror_n4_p6, via1, [(0.153,0.018,0.171,0.036), (0.369,0.018,0.387,0.036), (0.531,0.018,0.549,0.036), (0.801,0.018,0.819,0.036), (1.449,0.018,1.467,0.036), (1.611,0.018,1.629,0.036), (1.881,0.018,1.899,0.036), (2.097,0.018,2.115,0.036), (2.205,0.018,2.223,0.036), (2.475,0.018,2.493,0.036), (2.691,0.018,2.709,0.036), (3.069,0.018,3.087,0.036), (3.339,0.018,3.357,0.036), (3.555,0.018,3.573,0.036), (3.933,0.018,3.951,0.036), (4.797,0.018,4.815,0.036), (0.045,0.072,0.063,0.09), (0.261,0.072,0.279,0.09), (0.423,0.072,0.441,0.09), (0.639,0.072,0.657,0.09), (0.909,0.072,0.927,0.09), (1.071,0.072,1.089,0.09), (1.341,0.072,1.359,0.09), (1.503,0.072,1.521,0.09), (1.719,0.072,1.737,0.09), (1.989,0.072,2.007,0.09), (2.853,0.072,2.871,0.09), (2.961,0.072,2.979,0.09), (3.231,0.072,3.249,0.09), (3.447,0.072,3.465,0.09), (3.717,0.072,3.735,0.09), (3.825,0.072,3.843,0.09), (4.095,0.072,4.113,0.09), (4.257,0.072,4.275,0.09), (4.473,0.072,4.491,0.09), (4.581,0.072,4.599,0.09), (0.747,0.126,0.765,0.144), (0.855,0.126,0.873,0.144), (1.827,0.126,1.845,0.144), (1.935,0.126,1.953,0.144), (2.313,0.126,2.331,0.144), (2.529,0.126,2.547,0.144), (2.907,0.126,2.925,0.144), (3.015,0.126,3.033,0.144), (3.177,0.126,3.195,0.144), (3.393,0.126,3.411,0.144), (3.771,0.126,3.789,0.144), (3.879,0.126,3.897,0.144), (0.18,0.315,0.198,0.333), (0.396,0.315,0.414,0.333), (0.558,0.315,0.576,0.333), (0.774,0.315,0.792,0.333), (1.638,0.315,1.656,0.333), (1.854,0.315,1.872,0.333), (2.124,0.315,2.142,0.333), (2.34,0.315,2.358,0.333), (2.448,0.315,2.466,0.333), (2.718,0.315,2.736,0.333), (2.88,0.315,2.898,0.333), (3.204,0.315,3.222,0.333), (3.312,0.315,3.33,0.333), (3.582,0.315,3.6,0.333), (3.744,0.315,3.762,0.333), (4.716,0.315,4.734,0.333), (0.234,0.369,0.252,0.387), (0.612,0.369,0.63,0.387), (0.828,0.369,0.846,0.387), (1.098,0.369,1.116,0.387), (1.314,0.369,1.332,0.387), (1.692,0.369,1.71,0.387), (1.908,0.369,1.926,0.387), (2.178,0.369,2.196,0.387), (2.394,0.369,2.412,0.387), (2.556,0.369,2.574,0.387), (2.772,0.369,2.79,0.387), (2.934,0.369,2.952,0.387), (3.258,0.369,3.276,0.387), (3.42,0.369,3.438,0.387), (3.636,0.369,3.654,0.387), (3.798,0.369,3.816,0.387), (4.446,0.369,4.464,0.387), (4.77,0.369,4.788,0.387), (0.882,0.423,0.9,0.441), (1.962,0.423,1.98,0.441), (2.502,0.423,2.52,0.441), (2.826,0.423,2.844,0.441), (2.988,0.423,3.006,0.441), (3.366,0.423,3.384,0.441), (3.69,0.423,3.708,0.441), (3.852,0.423,3.87,0.441), (4.5,0.423,4.518,0.441), (4.824,0.423,4.842,0.441), (3.042,0.477,3.06,0.495), (3.906,0.477,3.924,0.495), (4.554,0.477,4.572,0.495), (0.909,0.72,0.927,0.738), (1.017,0.72,1.035,0.738), (1.989,0.72,2.007,0.738), (2.097,0.72,2.115,0.738), (2.421,0.72,2.439,0.738), (2.691,0.72,2.709,0.738), (2.799,0.72,2.817,0.738), (3.285,0.72,3.303,0.738), (3.555,0.72,3.573,0.738), (3.663,0.72,3.681,0.738), (4.041,0.72,4.059,0.738), (4.203,0.72,4.221,0.738), (4.419,0.72,4.437,0.738), (4.689,0.72,4.707,0.738), (0.045,0.774,0.063,0.792), (0.207,0.774,0.225,0.792), (0.423,0.774,0.441,0.792), (1.287,0.774,1.305,0.792), (1.503,0.774,1.521,0.792), (2.529,0.774,2.547,0.792), (3.015,0.774,3.033,0.792), (3.393,0.774,3.411,0.792), (3.879,0.774,3.897,0.792), (4.095,0.774,4.113,0.792), (4.257,0.774,4.275,0.792), (4.581,0.774,4.599,0.792), (4.851,0.774,4.869,0.792), (4.959,0.774,4.977,0.792), (2.367,0.828,2.385,0.846), (2.475,0.828,2.493,0.846), (2.745,0.828,2.763,0.846), (2.853,0.828,2.871,0.846), (3.069,0.828,3.087,0.846), (3.231,0.828,3.249,0.846), (3.339,0.828,3.357,0.846), (3.609,0.828,3.627,0.846), (3.717,0.828,3.735,0.846), (3.933,0.828,3.951,0.846), (4.365,0.828,4.383,0.846), (4.473,0.828,4.491,0.846), (2.313,0.882,2.331,0.9), (2.583,0.882,2.601,0.9), (3.177,0.882,3.195,0.9), (3.447,0.882,3.465,0.9)])
A(neuron_mirror_n4_p6, via2, 0.936, 0.018, 0.018, 0.018, 3, 2, 0.216, 0.702)
A(neuron_mirror_n4_p6, via2, 3.96, 0.018, 0.018, 0.018, 3, 2, 0.162, 0.702)
A(neuron_mirror_n4_p6, via2, 1.044, 0.315, 0.018, 0.018, 3, 1, 0.216, 0)
A(neuron_mirror_n4_p6, via2, 4.068, 0.315, 0.018, 0.018, 3, 1, 0.162, 0)
R(neuron_mirror_n4_p6, via2, [(0.288,0.018,0.306,0.036), (0.45,0.018,0.468,0.036), (0.666,0.018,0.684,0.036), (1.53,0.018,1.548,0.036), (1.746,0.018,1.764,0.036), (2.016,0.018,2.034,0.036), (2.232,0.018,2.25,0.036), (2.61,0.018,2.628,0.036), (3.096,0.018,3.114,0.036), (3.474,0.018,3.492,0.036), (4.608,0.018,4.626,0.036), (4.878,0.018,4.896,0.036), (0.18,0.315,0.198,0.333), (0.396,0.315,0.414,0.333), (0.558,0.315,0.576,0.333), (0.774,0.315,0.792,0.333), (1.638,0.315,1.656,0.333), (1.854,0.315,1.872,0.333), (2.124,0.315,2.142,0.333), (2.34,0.315,2.358,0.333), (2.718,0.315,2.736,0.333), (3.204,0.315,3.222,0.333), (3.582,0.315,3.6,0.333), (4.716,0.315,4.734,0.333), (0.234,0.369,0.252,0.387), (0.612,0.369,0.63,0.387), (0.828,0.369,0.846,0.387), (1.098,0.369,1.116,0.387), (1.314,0.369,1.332,0.387), (1.692,0.369,1.71,0.387), (1.908,0.369,1.926,0.387), (2.178,0.369,2.196,0.387), (2.394,0.369,2.412,0.387), (2.772,0.369,2.79,0.387), (3.258,0.369,3.276,0.387), (3.636,0.369,3.654,0.387), (4.446,0.369,4.464,0.387), (4.77,0.369,4.788,0.387), (0.882,0.423,0.9,0.441), (1.962,0.423,1.98,0.441), (2.502,0.423,2.52,0.441), (2.826,0.423,2.844,0.441), (3.366,0.423,3.384,0.441), (3.69,0.423,3.708,0.441), (4.5,0.423,4.518,0.441), (4.824,0.423,4.842,0.441), (3.042,0.477,3.06,0.495), (3.906,0.477,3.924,0.495), (4.554,0.477,4.572,0.495), (0.288,0.72,0.306,0.738), (0.45,0.72,0.468,0.738), (0.666,0.72,0.684,0.738), (1.53,0.72,1.548,0.738), (1.746,0.72,1.764,0.738), (2.016,0.72,2.034,0.738), (2.232,0.72,2.25,0.738), (2.61,0.72,2.628,0.738), (3.096,0.72,3.114,0.738), (3.474,0.72,3.492,0.738), (4.608,0.72,4.626,0.738), (4.878,0.72,4.896,0.738)])
A(neuron_mirror_n4_p6, metal3, 0.936, 0.013, 0.018, 0.73, 3, 1, 0.216, 0)
A(neuron_mirror_n4_p6, metal3, 3.96, 0.013, 0.018, 0.73, 3, 1, 0.162, 0)
A(neuron_mirror_n4_p6, metal3, 2.718, 0.31, 0.018, 0.967, 3, 1, 0.756, 0)
R(neuron_mirror_n4_p6, metal3, [(0.288,0.013,0.306,0.743), (0.45,0.013,0.468,0.743), (0.666,0.013,0.684,0.743), (1.53,0.013,1.548,0.743), (1.746,0.013,1.764,0.743), (2.016,0.013,2.034,0.743), (2.232,0.013,2.25,0.743), (2.61,0.013,2.628,0.743), (3.096,0.013,3.114,0.743), (3.474,0.013,3.492,0.743), (4.608,0.013,4.626,0.743), (4.878,0.013,4.896,0.743), (0.18,0.31,0.198,1.037), (0.288,0.31,0.306,1.085), (0.396,0.31,0.414,1.085), (0.45,0.31,0.468,1.277), (0.558,0.31,0.576,1.037), (0.666,0.31,0.684,1.133), (0.774,0.31,0.792,1.037), (0.936,0.31,0.954,1.037), (1.044,0.31,1.062,1.085), (1.152,0.31,1.17,1.133), (1.26,0.31,1.278,1.037), (1.368,0.31,1.386,1.229), (1.476,0.31,1.494,1.229), (1.53,0.31,1.548,1.085), (1.638,0.31,1.656,1.037), (1.746,0.31,1.764,1.181), (1.854,0.31,1.872,1.037), (2.016,0.31,2.034,1.037), (2.124,0.31,2.142,1.229), (2.232,0.31,2.25,1.229), (2.34,0.31,2.358,1.277), (2.61,0.31,2.628,1.181), (3.096,0.31,3.114,1.085), (3.204,0.31,3.222,1.133), (3.582,0.31,3.6,1.133), (3.96,0.31,3.978,1.037), (4.068,0.31,4.086,1.037), (4.122,0.31,4.14,1.133), (4.284,0.31,4.302,1.037), (4.392,0.31,4.41,1.181), (4.608,0.31,4.626,1.085), (4.716,0.31,4.734,1.181), (4.878,0.31,4.896,1.133), (0.234,0.364,0.252,1.181), (0.612,0.364,0.63,1.181), (0.828,0.364,0.846,1.181), (1.098,0.364,1.116,1.037), (1.314,0.364,1.332,1.325), (1.692,0.364,1.71,1.325), (1.908,0.364,1.926,1.325), (2.178,0.364,2.196,1.037), (2.394,0.364,2.412,1.085), (2.772,0.364,2.79,1.085), (3.258,0.364,3.276,1.229), (3.636,0.364,3.654,1.229), (4.446,0.364,4.464,1.133), (4.77,0.364,4.788,1.133), (0.882,0.418,0.9,1.133), (1.962,0.418,1.98,1.181), (2.502,0.418,2.52,1.037), (2.826,0.418,2.844,1.037), (3.366,0.418,3.384,1.037), (3.69,0.418,3.708,1.037), (4.5,0.418,4.518,1.085), (4.824,0.418,4.842,1.037), (3.042,0.472,3.06,1.181), (3.906,0.472,3.924,1.277), (4.554,0.472,4.572,1.037)])
A(neuron_mirror_n4_p6, via3, 0.774, 1.008, 0.018, 0.024, 4, 1, 0.162, 0)
A(neuron_mirror_n4_p6, via3, 1.854, 1.008, 0.018, 0.024, 3, 1, 0.162, 0)
A(neuron_mirror_n4_p6, via3, 4.284, 1.008, 0.018, 0.024, 3, 1, 0.27, 0)
A(neuron_mirror_n4_p6, via3, 4.122, 1.104, 0.018, 0.024, 3, 1, 0.324, 0)
R(neuron_mirror_n4_p6, via3, [(0.18,1.008,0.198,1.032), (0.558,1.008,0.576,1.032), (1.638,1.008,1.656,1.032), (2.502,1.008,2.52,1.032), (2.826,1.008,2.844,1.032), (3.366,1.008,3.384,1.032), (3.69,1.008,3.708,1.032), (3.96,1.008,3.978,1.032), (4.068,1.008,4.086,1.032), (0.288,1.056,0.306,1.08), (0.396,1.056,0.414,1.08), (1.044,1.056,1.062,1.08), (1.53,1.056,1.548,1.08), (2.394,1.056,2.412,1.08), (2.772,1.056,2.79,1.08), (3.096,1.056,3.114,1.08), (4.5,1.056,4.518,1.08), (4.608,1.056,4.626,1.08), (0.666,1.104,0.684,1.128), (0.882,1.104,0.9,1.128), (1.152,1.104,1.17,1.128), (3.204,1.104,3.222,1.128), (3.582,1.104,3.6,1.128), (4.878,1.104,4.896,1.128), (0.234,1.152,0.252,1.176), (0.612,1.152,0.63,1.176), (0.828,1.152,0.846,1.176), (1.746,1.152,1.764,1.176), (1.962,1.152,1.98,1.176), (2.61,1.152,2.628,1.176), (3.042,1.152,3.06,1.176), (4.392,1.152,4.41,1.176), (4.716,1.152,4.734,1.176), (1.368,1.2,1.386,1.224), (1.476,1.2,1.494,1.224), (2.124,1.2,2.142,1.224), (2.232,1.2,2.25,1.224), (3.258,1.2,3.276,1.224), (3.636,1.2,3.654,1.224), (0.45,1.248,0.468,1.272), (2.34,1.248,2.358,1.272), (2.718,1.248,2.736,1.272), (3.474,1.248,3.492,1.272), (3.906,1.248,3.924,1.272), (4.23,1.248,4.248,1.272), (1.314,1.296,1.332,1.32), (1.692,1.296,1.71,1.32), (1.908,1.296,1.926,1.32)])
R(neuron_mirror_n4_p6, metal4, [(0.167,1.008,0.211,1.032), (0.545,1.008,0.805,1.032), (0.923,1.008,1.129,1.032), (1.247,1.008,1.291,1.032), (1.625,1.008,1.885,1.032), (2.003,1.008,2.209,1.032), (2.489,1.008,2.857,1.032), (3.353,1.008,3.721,1.032), (3.947,1.008,4.099,1.032), (4.271,1.008,4.855,1.032), (0.275,1.056,1.075,1.08), (1.517,1.056,2.803,1.08), (3.083,1.056,4.531,1.08), (4.595,1.056,4.639,1.08), (0.653,1.104,0.913,1.128), (1.139,1.104,3.613,1.128), (4.109,1.104,4.801,1.128), (4.865,1.104,4.909,1.128), (0.221,1.152,0.265,1.176), (0.599,1.152,0.859,1.176), (1.733,1.152,1.993,1.176), (2.597,1.152,4.747,1.176), (1.355,1.2,2.155,1.224), (2.219,1.2,3.667,1.224), (0.437,1.248,2.749,1.272), (3.461,1.248,4.261,1.272), (1.301,1.296,1.345,1.32), (1.679,1.296,1.939,1.32)])
A(neuron_mirror_n4_p6, sdt, 0.042, 0.189, 0.024, 0.108, 4, 1, 0.108, 0)
A(neuron_mirror_n4_p6, sdt, 0.42, 0.189, 0.024, 0.108, 4, 1, 0.108, 0)
A(neuron_mirror_n4_p6, sdt, 0.798, 0.189, 0.024, 0.108, 3, 1, 0.054, 0)
A(neuron_mirror_n4_p6, sdt, 1.014, 0.189, 0.024, 0.108, 3, 1, 0.054, 0)
A(neuron_mirror_n4_p6, sdt, 1.23, 0.189, 0.024, 0.108, 3, 1, 0.108, 0)
A(neuron_mirror_n4_p6, sdt, 1.5, 0.189, 0.024, 0.108, 4, 1, 0.108, 0)
A(neuron_mirror_n4_p6, sdt, 1.878, 0.189, 0.024, 0.108, 3, 1, 0.054, 0)
A(neuron_mirror_n4_p6, sdt, 2.094, 0.189, 0.024, 0.108, 3, 1, 0.054, 0)
A(neuron_mirror_n4_p6, sdt, 2.472, 0.189, 0.024, 0.108, 3, 1, 0.054, 0)
A(neuron_mirror_n4_p6, sdt, 2.85, 0.189, 0.024, 0.108, 5, 1, 0.054, 0)
A(neuron_mirror_n4_p6, sdt, 3.336, 0.189, 0.024, 0.108, 3, 1, 0.054, 0)
A(neuron_mirror_n4_p6, sdt, 3.714, 0.189, 0.024, 0.108, 5, 1, 0.054, 0)
A(neuron_mirror_n4_p6, sdt, 4.254, 0.189, 0.024, 0.108, 3, 1, 0.108, 0)
A(neuron_mirror_n4_p6, sdt, 4.686, 0.189, 0.024, 0.108, 4, 1, 0.054, 0)
A(neuron_mirror_n4_p6, sdt, 0.15, 0.513, 0.024, 0.162, 3, 1, 0.054, 0)
A(neuron_mirror_n4_p6, sdt, 0.528, 0.513, 0.024, 0.162, 3, 1, 0.054, 0)
A(neuron_mirror_n4_p6, sdt, 0.906, 0.513, 0.024, 0.162, 4, 1, 0.108, 0)
A(neuron_mirror_n4_p6, sdt, 1.608, 0.513, 0.024, 0.162, 3, 1, 0.054, 0)
A(neuron_mirror_n4_p6, sdt, 1.986, 0.513, 0.024, 0.162, 4, 1, 0.108, 0)
A(neuron_mirror_n4_p6, sdt, 2.364, 0.513, 0.024, 0.162, 5, 1, 0.054, 0)
A(neuron_mirror_n4_p6, sdt, 2.688, 0.513, 0.024, 0.162, 4, 1, 0.054, 0)
A(neuron_mirror_n4_p6, sdt, 3.174, 0.513, 0.024, 0.162, 6, 1, 0.054, 0)
A(neuron_mirror_n4_p6, sdt, 3.552, 0.513, 0.024, 0.162, 4, 1, 0.054, 0)
A(neuron_mirror_n4_p6, sdt, 4.362, 0.513, 0.024, 0.162, 3, 1, 0.054, 0)
R(neuron_mirror_n4_p6, sdt, [(2.31,0.189,2.334,0.297), (2.364,0.189,2.388,0.297), (2.688,0.189,2.712,0.297), (3.174,0.189,3.198,0.297), (3.228,0.189,3.252,0.297), (3.552,0.189,3.576,0.297), (4.038,0.189,4.062,0.297), (4.092,0.189,4.116,0.297), (4.2,0.189,4.224,0.297), (4.524,0.189,4.548,0.297), (4.578,0.189,4.602,0.297), (4.956,0.189,4.98,0.297), (0.042,0.513,0.066,0.675), (0.366,0.513,0.39,0.675), (0.42,0.513,0.444,0.675), (0.744,0.513,0.768,0.675), (0.852,0.513,0.876,0.675), (1.284,0.513,1.308,0.675), (1.338,0.513,1.362,0.675), (1.446,0.513,1.47,0.675), (1.5,0.513,1.524,0.675), (1.824,0.513,1.848,0.675), (1.932,0.513,1.956,0.675), (3.012,0.513,3.036,0.675), (3.066,0.513,3.09,0.675), (3.876,0.513,3.9,0.675), (3.93,0.513,3.954,0.675), (4.038,0.513,4.062,0.675), (4.092,0.513,4.116,0.675), (4.2,0.513,4.224,0.675), (4.254,0.513,4.278,0.675), (4.578,0.513,4.602,0.675), (4.686,0.513,4.71,0.675), (4.848,0.513,4.872,0.675), (4.956,0.513,4.98,0.675)])
R(neuron_mirror_n4_p6, boundary, [(0,0,5.022,1.344)])
neuron_mirror_n4_p6.add(gdstk.Label('VSS', (0.054,0.081), layer=20, texttype=251))
neuron_mirror_n4_p6.add(gdstk.Label('VDD', (0.054,0.783), layer=20, texttype=251))
neuron_mirror_n4_p6.add(gdstk.Label('VSS', (0.054,0.189), layer=3, texttype=251))
neuron_mirror_n4_p6.add(gdstk.Label('VDD', (0.054,0.513), layer=1, texttype=251))
neuron_mirror_n4_p6.add(gdstk.Label('i0', (0.189,1.02), layer=40, texttype=251))
neuron_mirror_n4_p6.add(gdstk.Label('i4', (0.243,1.164), layer=40, texttype=251))
neuron_mirror_n4_p6.add(gdstk.Label('i1', (0.567,1.02), layer=40, texttype=251))
neuron_mirror_n4_p6.add(gdstk.Label('i5', (0.621,1.164), layer=40, texttype=251))
neuron_mirror_n4_p6.add(gdstk.Label('i2', (1.269,1.02), layer=40, texttype=251))
neuron_mirror_n4_p6.add(gdstk.Label('i6', (1.323,1.308), layer=40, texttype=251))
neuron_mirror_n4_p6.add(gdstk.Label('i3', (1.647,1.02), layer=40, texttype=251))
neuron_mirror_n4_p6.add(gdstk.Label('i7', (1.701,1.308), layer=40, texttype=251))
neuron_mirror_n4_p6.add(gdstk.Label('i8', (2.511,1.02), layer=40, texttype=251))
neuron_mirror_n4_p6.add(gdstk.Label('i9', (3.375,1.02), layer=40, texttype=251))
neuron_mirror_n4_p6.add(gdstk.Label('n18', (4.617,1.068), layer=40, texttype=251))
neuron_mirror_n4_p6.add(gdstk.Label('n19', (4.887,1.116), layer=40, texttype=251))

lib.write_gds('neuron_mirror_n4_p6.gds')
